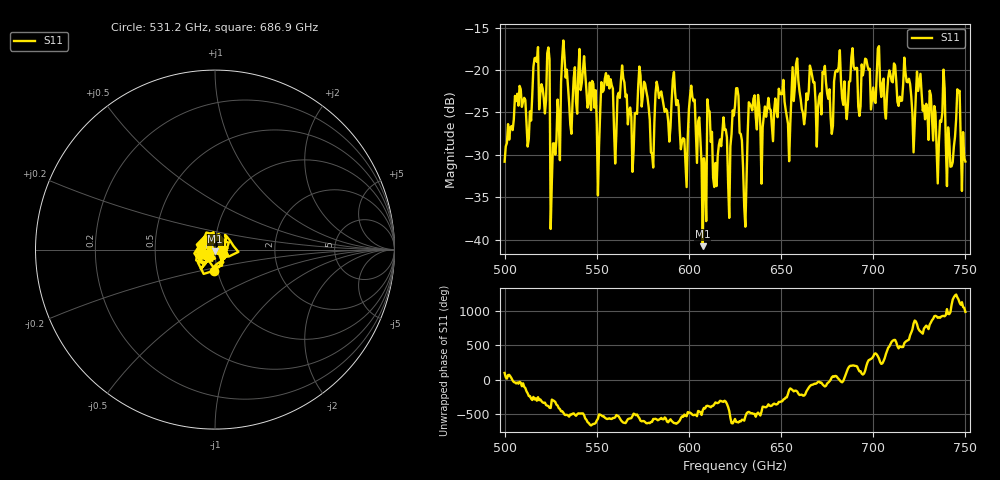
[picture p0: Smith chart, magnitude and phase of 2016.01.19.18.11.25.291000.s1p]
!Created with skrf (http://scikit-rf.org).
# GHz S RI R 50.0
!freq ReS11 ImS11
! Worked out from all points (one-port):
!   401 points, 500 GHz to 750 GHz, reference 50 ohm
!   lowest |S11| = -40.8 dB at 607.5 GHz (marker M1), VSWR 1.02, Z = 50.1 - j0.907 ohm
!   |S11| at or under -10 dB: start of sweep to end of sweep
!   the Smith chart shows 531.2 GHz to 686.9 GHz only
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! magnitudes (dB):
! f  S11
! 500 GHz  -30.8
! 507.5 GHz  -24.2
! 513.1 GHz  -28.1
! 516.9 GHz  -18.5
! 523.1 GHz  -18.0
! 526.2 GHz  -28.7
! 531.2 GHz  -18.5
! 541.9 GHz  -21.5
! 550.6 GHz  -34.8
! 562.5 GHz  -23.3
! 570 GHz  -29.5
! 576.2 GHz  -21.6
! 580 GHz  -29.9
! 583.1 GHz  -22.1
! 593.8 GHz  -23.5
! 597.5 GHz  -28.1
! 601.9 GHz  -23.2
! 607.5 GHz  -40.8
! 611.2 GHz  -24.9
! 614.4 GHz  -31.0
! 621.9 GHz  -37.4
! 625 GHz  -24.2
! 630 GHz  -36.1
! 633.8 GHz  -24.3
! 656.2 GHz  -19.7
! 687.5 GHz  -21.3
! 718.8 GHz  -21.4
! 750 GHz  -30.8
